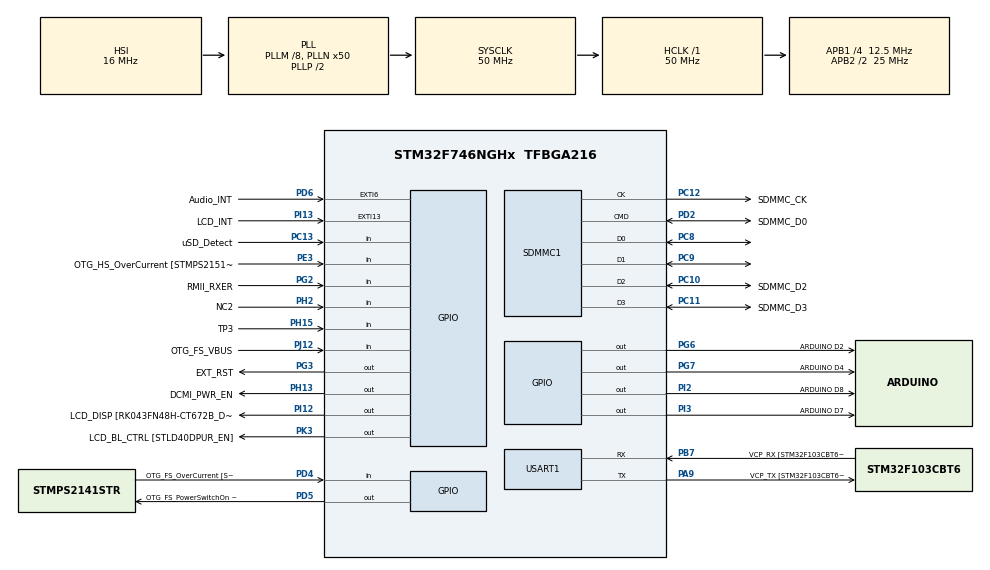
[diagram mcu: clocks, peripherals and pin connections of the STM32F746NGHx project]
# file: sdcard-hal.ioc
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PD12.GPIO_Label=QSPI_D1 [N25Q128A13EF840E_DQ1]
SH.FMC_A0.0=FMC_A0
PH15.GPIO_Label=TP3
PG8.Signal=FMC_SDCLK
PG0.Signal=FMC_A10
PI15.GPIO_Label=LCD_R0 [RK043FN48H-CT672B_R0]
PK1.Signal=LTDC_G6
SH.FMC_D5_DA5.0=FMC_D5
PF10.GPIO_PuPd=GPIO_NOPULL
SH.FMC_D9_DA9.0=FMC_D9
PG15.GPIO_Label=FMC_SDNCAS [MT48LC4M32B2B5-6A_CAS]
PF7.Signal=ADC3_IN5
SH.FMC_SDNWE.0=FMC_SDNWE
PH9.Signal=DCMI_D0
SH.FMC_D11_DA11.0=FMC_D11
RCC.APB2TimFreq_Value=50000000
PB6.Signal=QUADSPI_BK1_NCS
PC7.Signal=USART6_RX
PD0.Signal=FMC_D2_DA2
PD8.Signal=FMC_D13_DA13
PE1.Signal=FMC_NBL1
PF1.GPIO_Label=FMC_A1 [MT48LC4M32B2B5-6A_A1]
PI4.GPIO_Label=SAI2_MCLKA [WM8994ECS/R_MCLK1]
PK4.GPIO_Label=LCD_B5 [RK043FN48H-CT672B_B5]
PD1.GPIO_Label=FMC_D3 [MT48LC4M32B2B5-6A_DQ3]
PB12.GPIO_Label=ULPI_D5 [USB3320C-EZK_D5]
PF12.GPIO_Label=FMC_A6 [MT48LC4M32B2B5-6A_A6]
SH.S_TIM12_CH1.0=TIM12_CH1
PC4.GPIO_Label=RMII_RXD0 [LAN8742A-CZ-TR_RXD0]
PE9.Signal=FMC_D6_DA6
SH.FMC_A2.0=FMC_A2
PB1.GPIO_Label=ULPI_D2 [USB3320C-EZK_D2]
PE4.GPIO_Label=LCD_B0 [RK043FN48H-CT672B_B0]
PG4.GPIO_Label=FMC_BA0 [MT48LC4M32B2B5-6A_BA0]
PC9.Mode=SD_4_bits_Wide_bus
PA8.Signal=S_TIM1_CH1
SH.FMC_D1_DA1.0=FMC_D1
PJ14.Signal=LTDC_B2
PB9.Signal=I2C1_SDA
Mcu.Package=TFBGA216
PB1.Signal=USB_OTG_HS_ULPI_D2
PB14.GPIO_PuPd=GPIO_NOPULL
PD12.Signal=QUADSPI_BK1_IO1
PB9.GPIO_PuPd=GPIO_NOPULL
PA10.Signal=USB_OTG_FS_ID
PE12.GPIO_Label=FMC_D9 [MT48LC4M32B2B5-6A_DQ9]
PC11.Mode=SD_4_bits_Wide_bus
RCC.APB2CLKDivider=RCC_HCLK_DIV2
RCC.APB1TimFreq_Value=25000000
PC14/OSC32_IN.GPIO_Label=RCC_OSC32_IN
PF9.GPIO_PuPd=GPIO_NOPULL
PA4.GPIO_Label=DCMI_HSYNC
PA8.GPIO_Speed=GPIO_SPEED_FREQ_LOW
PD15.Signal=FMC_D1_DA1
PJ1.GPIO_Label=LCD_R2 [RK043FN48H-CT672B_R2]
PG12.Signal=LTDC_B4
SH.FMC_A4.0=FMC_A4
PK4.Signal=LTDC_B5
PH13.Signal=GPIO_Output
PI13.GPIO_ModeDefaultEXTI=GPIO_MODE_EVT_RISING
PG5.Signal=FMC_A15_BA1
PC13.Signal=GPIO_Input
SH.FMC_D10_DA10.0=FMC_D10
PD3.Signal=DCMI_D5
PC2.Signal=USB_OTG_HS_ULPI_DIR
PI12.Signal=GPIO_Output
PJ11.Signal=LTDC_G4
PF8.GPIO_Label=ARDUINO A3
PD10.Signal=FMC_D15_DA15
PB8.GPIO_Label=ARDUINO SCL/D15
PJ8.GPIO_Label=LCD_G1 [RK043FN48H-CT672B_G1]
PJ3.Signal=LTDC_R4
PI8.GPIO_Label=NC1 [TP2]
PA8.GPIO_Label=ARDUINO PWM/D10
PE8.GPIO_Label=FMC_D5 [MT48LC4M32B2B5-6A_DQ5]
PH11.GPIO_Label=DCMI_D2
PJ11.GPIO_Label=LCD_G4 [RK043FN48H-CT672B_G4]
PB14.Signal=SPI2_MISO
PA5.Signal=USB_OTG_HS_ULPI_CK
PC12.Mode=SD_4_bits_Wide_bus
PF10.GPIO_Mode=GPIO_MODE_ANALOG
PJ4.GPIO_Label=LCD_R5 [RK043FN48H-CT672B_R5]
PE1.GPIO_Label=FMC_NBL1 [MT48LC4M32B2B5-6A_DQM1]
PK7.GPIO_Label=LCD_DE [RK043FN48H-CT672B_DE]
PI7.Signal=SAI2_FS_A
SH.FMC_A6.0=FMC_A6
PE14.Signal=FMC_D11_DA11
PB4.GPIO_Label=ARDUINO PWM/D3
PB15.GPIO_Label=ARDUINO MOSI/PWM/D11
PG7.GPIO_Label=ARDUINO D4
PI2.Signal=GPIO_Output
PF4.GPIO_Label=FMC_A4 [MT48LC4M32B2B5-6A_A4]
PA1.GPIO_Label=RMII_REF_CLK [LAN8742A-CZ-TR_REFCLK0]
PF13.Signal=FMC_A7
PA0/WKUP.GPIO_PuPd=GPIO_NOPULL
PJ15.GPIO_Label=LCD_B3 [RK043FN48H-CT672B_B3]
PC7.GPIO_Label=ARDUINO RX/D0
PC8.Mode=SD_4_bits_Wide_bus
PA5.GPIO_Label=ULPI_CLK [USB3320C-EZK_CLKOUT]
PE5.GPIO_Label=DCMI_D6
PC12.GPIO_Label=SDMMC_CK
PJ8.Signal=LTDC_G1
PJ0.GPIO_Label=LCD_R1 [RK043FN48H-CT672B_R1]
ProjectManager.HeapSize=0x200
PH6.Signal=S_TIM12_CH1
NVIC.PriorityGroup=NVIC_PRIORITYGROUP_4
PF0.GPIO_Label=FMC_A0 [MT48LC4M32B2B5-6A_A0]
PI1.GPIO_Mode=GPIO_MODE_AF_PP
PE3.Signal=GPIO_Input
PC15/OSC32_OUT.Signal=RCC_OSC32_OUT
PF4.Signal=FMC_A4
PD2.Signal=SDMMC1_CMD
PI1.GPIO_Label=ARDUINO SCK/D13
Mcu.Family=STM32F7
PK3.Signal=GPIO_Output
SH.FMC_A8.0=FMC_A8
PC15/OSC32_OUT.GPIO_Label=RCC_OSC32_OUT
PH14.Signal=DCMI_D4
PH10.Signal=DCMI_D1
SH.FMC_D14_DA14.0=FMC_D14
PG2.Signal=GPIO_Input
PE11.GPIO_Label=FMC_D8 [MT48LC4M32B2B5-6A_DQ8]
PD0.GPIO_Label=FMC_D2 [MT48LC4M32B2B5-6A_DQ2]
SH.FMC_A14_BA0.0=FMC_BA0
SH.FMC_A11.0=FMC_A11
PB13.GPIO_Label=ULPI_D6 [USB3320C-EZK_D6]
PG5.GPIO_Label=FMC_BA1 [MT48LC4M32B2B5-6A_BA1]
PB15.Signal=SPI2_MOSI
PG15.Signal=FMC_SDNCAS
PG11.Signal=ETH_TX_EN
PJ5.GPIO_Label=LCD_R6 [RK043FN48H-CT672B_R6]
PJ14.GPIO_Label=LCD_B2 [RK043FN48H-CT672B_B2]
PD13.Signal=QUADSPI_BK1_IO3
PA15.GPIO_Label=ARDUINO PWM/D9
PJ2.Signal=LTDC_R3
SH.FMC_NBL1.0=FMC_NBL1
PA15.GPIO_ModeDefaultPP=GPIO_MODE_AF_PP
PA9.GPIO_Mode=GPIO_MODE_AF_PP
RCC.HSE_VALUE=25000000
PF7.GPIO_Mode=GPIO_MODE_ANALOG
PF8.GPIO_PuPd=GPIO_NOPULL
PH7.GPIO_Label=LCD_SCL [RK043FN48H-CT672B_SCL]
PJ7.GPIO_Label=LCD_G0 [RK043FN48H-CT672B_G0]
PF11.Signal=FMC_SDNRAS
PC11.GPIO_Label=SDMMC_D3
PJ12.GPIO_Label=OTG_FS_VBUS
PB7.Signal=USART1_RX
SH.S_TIM3_CH1.0=TIM3_CH1
PB7.GPIO_Label=VCP_RX [STM32F103CBT6_PA2]
PD13.GPIO_Label=QSPI_D3 [N25Q128A13EF840E_DQ3]
PA6.Signal=DCMI_PIXCLK
PB15.GPIO_PuPd=GPIO_NOPULL
PD5.GPIO_Label=OTG_FS_PowerSwitchOn [STMPS2141STR_EN]
PA15.Signal=S_TIM2_CH1_ETR
PF8.Signal=ADC3_IN6
PG0.GPIO_Label=FMC_A10 [MT48LC4M32B2B5-6A_A10]
PI0.GPIO_Label=ARDUINO PWM/CS/D5
PA0/WKUP.GPIO_Mode=GPIO_MODE_ANALOG
PB5.GPIO_Label=ULPI_D7 [USB3320C-EZK_D7]
PG11.GPIO_Label=RMII_TX_EN [LAN8742A-CZ-TR_TXEN]
PD3.GPIO_Label=DCMI_D5
PC5.Signal=ETH_RXD1
PE7.Signal=FMC_D4_DA4
PD6.Signal=GPXTI6
PF3.GPIO_Label=FMC_A3 [MT48LC4M32B2B5-6A_A3]
PE2.GPIO_Label=QSPI_D2 [N25Q128A13EF840E_DQ2]
PB4.Signal=S_TIM3_CH1
PG2.GPIO_Label=RMII_RXER
PA3.Signal=USB_OTG_HS_ULPI_D0
PK6.Signal=LTDC_B7
PD15.GPIO_Label=FMC_D1 [MT48LC4M32B2B5-6A_DQ1]
PG7.Signal=GPIO_Output
PH12.GPIO_Label=DCMI_D3
PC11.Signal=SDMMC1_D3
PI14.Signal=LTDC_CLK
PC8.Signal=SDMMC1_D0
PC10.Mode=SD_4_bits_Wide_bus
PE14.GPIO_Label=FMC_D11 [MT48LC4M32B2B5-6A_DQ11]
PD9.Signal=FMC_D14_DA14
PA9.GPIO_PuPd=GPIO_NOPULL
PA12.GPIO_Label=OTG_FS_P
PD8.GPIO_Label=FMC_D13 [MT48LC4M32B2B5-6A_DQ13]
PG8.GPIO_Label=FMC_SDCLK [MT48LC4M32B2B5-6A_CLK]
USART1.VirtualMode-Asynchronous=VM_ASYNC
PA13.Signal=SYS_JTMS-SWDIO
PA9.Mode=Asynchronous
SH.S_TIM1_CH1.0=TIM1_CH1
PF6.Signal=ADC3_IN4
PB10.GPIO_Label=ULPI_D3 [USB3320C-EZK_D3]
SH.FMC_D13_DA13.0=FMC_D13
PH8.Signal=I2C3_SDA
RCC.USBFreq_Value=50000000
PF9.GPIO_Label=ARDUINO A2
PD10.GPIO_Label=FMC_D15 [MT48LC4M32B2B5-6A_DQ15]
PA1.Signal=ETH_REF_CLK
PD2.Mode=SD_4_bits_Wide_bus
board=STM32F746G-DISCO
RCC.VCOOutputFreq_Value=100000000
PI9.Signal=LTDC_VSYNC
PH4.GPIO_Label=ULPI_NXT [USB3320C-EZK_NXT]
PI13.GPIO_Label=LCD_INT
PI4.Signal=SAI2_MCLK_A
PC1.GPIO_Label=RMII_MDC [LAN8742A-CZ-TR_MDC]
SH.FMC_D12_DA12.0=FMC_D12
PF15.GPIO_Label=FMC_A9 [MT48LC4M32B2B5-6A_A9]
PI1.GPIO_Speed=GPIO_SPEED_FREQ_LOW
PF1.Signal=FMC_A1
PF8.GPIO_Mode=GPIO_MODE_ANALOG
PJ0.Signal=LTDC_R1
PE0.Signal=FMC_NBL0
PE7.GPIO_Label=FMC_D4 [MT48LC4M32B2B5-6A_DQ4]
PE12.Signal=FMC_D9_DA9
RCC.SYSCLKFreq_VALUE=50000000
PJ5.Signal=LTDC_R6
PA15.GPIO_Speed=GPIO_SPEED_FREQ_LOW
RCC.HSI_VALUE=16000000
PA8.GPIO_PuPd=GPIO_NOPULL
PH0/OSC_IN.GPIO_Label=OSC_25M [NZ2520SB-25.00M_OUT]
PF9.GPIO_Mode=GPIO_MODE_ANALOG
PI3.GPIO_Label=ARDUINO D7
PH3.Signal=FMC_SDNE0
RCC.PLLM=8
RCC.PLLN=50
PA9.GPIO_Speed=GPIO_SPEED_FREQ_LOW
PB8.GPIO_Speed=GPIO_SPEED_FREQ_LOW
PJ2.GPIO_Label=LCD_R3 [RK043FN48H-CT672B_R3]
PB14.GPIO_Mode=GPIO_MODE_AF_PP
PB12.Signal=USB_OTG_HS_ULPI_D5
PJ13.Signal=LTDC_B1
PK1.GPIO_Label=LCD_G6 [RK043FN48H-CT672B_G6]
PA3.GPIO_Label=ULPI_D0 [USB3320C-EZK_D0]
SH.FMC_D7_DA7.0=FMC_D7
PK5.Signal=LTDC_B6
PB15.GPIO_Mode=GPIO_MODE_AF_PP
PH12.Signal=DCMI_D3
PG4.Signal=FMC_A14_BA0
PC12.Signal=SDMMC1_CK
PB14.GPIO_Label=ARDUINO MISO/D12
PA14.GPIO_Label=SWCLK
PG6.GPIO_Label=ARDUINO D2
PH6.GPIO_Label=ARDUINO PWM/D6
PK6.GPIO_Label=LCD_B7 [RK043FN48H-CT672B_B7]
PC6.GPIO_Label=ARDUINO TX/D1
PB6.GPIO_Label=QSPI_NCS [N25Q128A13EF840E_S]
PI6.GPIO_Label=SAI2_SDA [WM8994ECS/R_DACDAT1]
PJ6.GPIO_Label=LCD_R7 [RK043FN48H-CT672B_R7]
PB13.Signal=USB_OTG_HS_ULPI_D6
PD6.GPIO_Label=Audio_INT
PG13.Signal=ETH_TXD0
PE6.GPIO_Label=DCMI_D7
PF6.GPIO_Label=ARDUINO A5
RCC.SYSCLKSource=RCC_SYSCLKSOURCE_PLLCLK
PJ10.Signal=LTDC_G3
SH.FMC_A15_BA1.0=FMC_BA1
PB7.GPIO_Mode=GPIO_MODE_AF_PP
PJ13.GPIO_Label=LCD_B1 [RK043FN48H-CT672B_B1]
PI0.GPIO_PuPd=GPIO_NOPULL
PH5.Signal=FMC_SDNWE
PD4.Signal=GPIO_Input
PH1/OSC_OUT.Signal=RCC_OSC_OUT
PC3.Signal=FMC_SDCKE0
PE5.Signal=DCMI_D6
PF10.GPIO_Label=ARDUINO A1
PH10.GPIO_Label=DCMI_D1
PB2.Signal=QUADSPI_CLK
PI6.Signal=SAI2_SD_A
PI3.Signal=GPIO_Output
PE2.Signal=QUADSPI_BK1_IO2
PF3.Signal=FMC_A3
PE10.Signal=FMC_D7_DA7
PD6.GPIO_ModeDefaultEXTI=GPIO_MODE_EVT_RISING
PJ4.Signal=LTDC_R5
SH.FMC_A1.0=FMC_A1
PH2.Signal=GPIO_Input
SH.FMC_SDCLK.0=FMC_SDCLK
PF14.Signal=FMC_A8
PF6.GPIO_Mode=GPIO_MODE_ANALOG
PE10.GPIO_Label=FMC_D7 [MT48LC4M32B2B5-6A_DQ7]
SH.FMC_D3_DA3.0=FMC_D3
PI10.GPIO_Label=LCD_HSYNC [RK043FN48H-CT672B_HSYNC]
PB7.GPIO_PuPd=GPIO_NOPULL
PH15.Signal=GPIO_Input
PD9.GPIO_Label=FMC_D14 [MT48LC4M32B2B5-6A_DQ14]
PG9.Signal=DCMI_VSYNC
PA9.GPIO_Label=VCP_TX [STM32F103CBT6_PA3]
PB8.GPIO_PuPd=GPIO_NOPULL
PC6.Signal=USART6_TX
PB11.GPIO_Label=ULPI_D4 [USB3320C-EZK_D4]
PD7.Signal=SPDIFRX_IN0
PD1.Signal=FMC_D3_DA3
PA11.GPIO_Label=OTG_FS_N
PF14.GPIO_Label=FMC_A8 [MT48LC4M32B2B5-6A_A8]
PC0.Signal=USB_OTG_HS_ULPI_STP
RCC.APB1CLKDivider=RCC_HCLK_DIV4
PF13.GPIO_Label=FMC_A7 [MT48LC4M32B2B5-6A_A7]
PG13.GPIO_Label=RMII_TXD0 [LAN8742A-CZ-TR_TXD0]
PG10.Signal=SAI2_SD_B
SH.FMC_A3.0=FMC_A3
PJ7.Signal=LTDC_G0
PI0.GPIO_Speed=GPIO_SPEED_FREQ_LOW
PB14.GPIO_Speed=GPIO_SPEED_FREQ_LOW
SH.FMC_D15_DA15.0=FMC_D15
PA9.Signal=USART1_TX
PB4.GPIO_PuPd=GPIO_NOPULL
PE9.GPIO_Label=FMC_D6 [MT48LC4M32B2B5-6A_DQ6]
PB10.Signal=USB_OTG_HS_ULPI_D3
PJ15.Signal=LTDC_B3
PH9.GPIO_Label=DCMI_D0
PI9.GPIO_Label=LCD_VSYNC [RK043FN48H-CT672B_VSYNC]
PA8.GPIO_ModeDefaultPP=GPIO_MODE_AF_PP
PE15.Signal=FMC_D12_DA12
PE8.Signal=FMC_D5_DA5
PI1.Signal=SPI2_SCK
PA0/WKUP.GPIO_Label=ARDUINO A0
PG14.GPIO_Label=RMII_TXD1 [LAN8742A-CZ-TR_TXD1]
SH.FMC_SDNCAS.0=FMC_SDNCAS
PF7.GPIO_PuPd=GPIO_NOPULL
PH14.GPIO_Label=DCMI_D4
PA4.Signal=DCMI_HSYNC
PB5.Signal=USB_OTG_HS_ULPI_D7
PE13.GPIO_Label=FMC_D10 [MT48LC4M32B2B5-6A_DQ10]
PD11.Signal=QUADSPI_BK1_IO0
SH.FMC_A5.0=FMC_A5
PA11.Signal=USB_OTG_FS_DM
SH.S_TIM2_CH1_ETR.0=TIM2_CH1
PK3.GPIO_Label=LCD_BL_CTRL [STLD40DPUR_EN]
PF9.Signal=ADC3_IN7
PF6.GPIO_PuPd=GPIO_NOPULL
PC3.GPIO_Label=FMC_SDCKE0 [MT48LC4M32B2B5-6A_CKE]
PG3.GPIO_Label=EXT_RST
PB0.Signal=USB_OTG_HS_ULPI_D1
PC1.Signal=ETH_MDC
PG10.GPIO_Label=SAI2_SDB [WM8994ECS/R_ADCDAT1]
PD2.GPIO_Label=SDMMC_D0
PH2.GPIO_Label=NC2
PK7.Signal=LTDC_DE
RCC.CortexFreq_Value=50000000
PG6.Signal=GPIO_Output
PC10.Signal=SDMMC1_D2
SH.FMC_NBL0.0=FMC_NBL0
PC0.GPIO_Label=ULPI_STP [USB3320C-EZK_STP]
SH.FMC_D6_DA6.0=FMC_D6
SDMMC1.ClockDiv=123
PA0/WKUP.Signal=ADCx_IN0
PB0.GPIO_Label=ULPI_D1 [USB3320C-EZK_D1]
PH5.GPIO_Label=FMC_SDNME [MT48LC4M32B2B5-6A_WE]
PI5.GPIO_Label=SAI2_SCKA [WM8994ECS/R_BCLK1]
PC13.GPIO_Label=uSD_Detect
PK5.GPIO_Label=LCD_B6 [RK043FN48H-CT672B_B6]
PB11.Signal=USB_OTG_HS_ULPI_D4
PI14.GPIO_Label=LCD_CLK [RK043FN48H-CT672B_CLK]
ProjectManager.StackSize=0x400
PJ6.Signal=LTDC_R7
SH.FMC_A7.0=FMC_A7
PA12.Signal=USB_OTG_FS_DP
PD11.GPIO_Label=QSPI_D0 [N25Q128A13EF840E_DQ0]
RCC.HCLKFreq_Value=50000000
PF11.GPIO_Label=FMC_SDNRAS [MT48LC4M32B2B5-6A_RAS]
PF12.Signal=FMC_A6
PI13.Signal=GPXTI13
SH.FMC_A10.0=FMC_A10
RCC.AHBFreq_Value=50000000
SH.FMC_D8_DA8.0=FMC_D8
PI8.Signal=RTC_TS
SH.FMC_D2_DA2.0=FMC_D2
PE13.Signal=FMC_D10_DA10
PF7.GPIO_Label=ARDUINO A4
PI1.GPIO_PuPd=GPIO_NOPULL
PI5.Signal=SAI2_SCK_A
PI0.Signal=S_TIM5_CH4
PA10.GPIO_Label=OTG_FS_ID
SH.ADCx_IN0.0=ADC3_IN0
SH.FMC_SDNRAS.0=FMC_SDNRAS
PE4.Signal=LTDC_B0
PD7.GPIO_Label=SPDIF_RX0 [74LVC1G04SE_4]
PJ9.Signal=LTDC_G2
SH.FMC_D0_DA0.0=FMC_D0
PJ12.Signal=GPIO_Input
PC14/OSC32_IN.Signal=RCC_OSC32_IN
PK0.GPIO_Label=LCD_G5 [RK043FN48H-CT672B_G5]
PA2.GPIO_Label=RMII_MDIO [LAN8742A-CZ-TR_MDIO]
PF5.GPIO_Label=FMC_A5 [MT48LC4M32B2B5-6A_A5]
SH.FMC_A9.0=FMC_A9
PJ1.Signal=LTDC_R2
SH.FMC_D4_DA4.0=FMC_D4
PI12.GPIO_Label=LCD_DISP [RK043FN48H-CT672B_DISP] 
PE0.GPIO_Label=FMC_NBL0 [MT48LC4M32B2B5-6A_DQM0]
PH3.GPIO_Label=FMC_SDNE0 [MT48LC4M32B2B5-6A_CS]
PF5.Signal=FMC_A5
PH7.Signal=I2C3_SCL
PB9.GPIO_Speed=GPIO_SPEED_FREQ_LOW
PJ3.GPIO_Label=LCD_R4 [RK043FN48H-CT672B_R4]
PK2.GPIO_Label=LCD_G7 [RK043FN48H-CT672B_G7]
PF0.Signal=FMC_A0
PI2.GPIO_Label=ARDUINO D8
PC2.GPIO_Label=ULPI_DIR [USB3320C-EZK_DIR]
PB7.GPIO_Speed=GPIO_SPEED_FREQ_LOW
PB3.GPIO_Label=SWO
RCC.PLLSourceVirtual=RCC_PLLSOURCE_HSI
PK2.Signal=LTDC_G7
PB9.GPIO_Label=ARDUINO SDA/D14
PC10.GPIO_Label=SDMMC_D2
PH11.Signal=DCMI_D2
PG3.Signal=GPIO_Output
PG1.Signal=FMC_A11
PC4.Signal=ETH_RXD0
PI0.GPIO_ModeDefaultPP=GPIO_MODE_AF_PP
PI10.Signal=LTDC_HSYNC
PD5.Signal=GPIO_Output
PH13.GPIO_Label=DCMI_PWR_EN
PH8.GPIO_Label=LCD_SDA [RK043FN48H-CT672B_SDA]
PE15.GPIO_Label=FMC_D12 [MT48LC4M32B2B5-6A_DQ12]
PH4.Signal=USB_OTG_HS_ULPI_NXT
ProjectManager.TargetToolchain=STM32CubeIDE
PJ9.GPIO_Label=LCD_G2 [RK043FN48H-CT672B_G2]
PF2.Signal=FMC_A2
PE11.Signal=FMC_D8_DA8
RCC.LSE_VALUE=32768
PK0.Signal=LTDC_G5
PG9.GPIO_Label=DCMI_VSYNC
PG14.Signal=ETH_TXD1
PB4.GPIO_ModeDefaultPP=GPIO_MODE_AF_PP
PJ10.GPIO_Label=LCD_G3 [RK043FN48H-CT672B_G3]
PG1.GPIO_Label=FMC_A11 [MT48LC4M32B2B5-6A_A11]
PB9.GPIO_Mode=GPIO_MODE_AF_OD
PH0/OSC_IN.Signal=RCC_OSC_IN
PB4.GPIO_Speed=GPIO_SPEED_FREQ_LOW
RCC.APB2Freq_Value=25000000
PD4.GPIO_Label=OTG_FS_OverCurrent [STMPS2141STR_Fault]
PF10.Signal=ADC3_IN8
PB15.GPIO_Speed=GPIO_SPEED_FREQ_LOW
PI7.GPIO_Label=SAI2_FSA [WM8994ECS/R_LRCLK1]
SH.S_TIM5_CH4.0=TIM5_CH4
PF15.Signal=FMC_A9
PD14.GPIO_Label=FMC_D0 [MT48LC4M32B2B5-6A_DQ0]
PD5.PinState=GPIO_PIN_SET
PE6.Signal=DCMI_D7
Mcu.Name=STM32F746NGHx
PA13.GPIO_Label=SWDIO
PA2.Signal=ETH_MDIO
PD14.Signal=FMC_D0_DA0
PB3.Signal=SYS_JTDO-SWO
PA7.GPIO_Label=RMII_CRS_DV [LAN8742A-CZ-TR_CRS_DV]
PC5.GPIO_Label=RMII_RXD1 [LAN8742A-CZ-TR_RXD1]
PB7.Mode=Asynchronous
PA14.Signal=SYS_JTCK-SWCLK
PG12.GPIO_Label=LCD_B4 [RK043FN48H-CT672B_B4]
PA15.GPIO_PuPd=GPIO_NOPULL
PI15.Signal=LTDC_R0
PB8.Signal=I2C1_SCL
PE3.GPIO_Label=OTG_HS_OverCurrent [STMPS2151STR_FAULT]
PC9.Signal=SDMMC1_D1
PB8.GPIO_Mode=GPIO_MODE_AF_OD
RCC.APB1Freq_Value=12500000
PA7.Signal=ETH_CRS_DV
PF2.GPIO_Label=FMC_A2 [MT48LC4M32B2B5-6A_A2]

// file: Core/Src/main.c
/* USER CODE BEGIN Header */
/**
  ******************************************************************************
  * @file           : main.c
  * @brief          : Main program body
  ******************************************************************************
  * @attention
  *
  * <h2><center>&copy; Copyright (c) 2021 STMicroelectronics.
  * All rights reserved.</center></h2>
  *
  * This software component is licensed by ST under BSD 3-Clause license,
  * the "License"; You may not use this file except in compliance with the
  * License. You may obtain a copy of the License at:
  *                        opensource.org/licenses/BSD-3-Clause
  *
  ******************************************************************************
  */
/* USER CODE END Header */
#include "main.h"

/* USER CODE BEGIN Includes */
#include <stdio.h>
#include <string.h>
/* USER CODE END Includes */

SD_HandleTypeDef hsd1;

UART_HandleTypeDef huart1;

void SystemClock_Config(void);
static void MX_GPIO_Init(void);
static void MX_SDMMC1_SD_Init(void);
static void MX_USART1_UART_Init(void);

/* USER CODE BEGIN 0 */
int _write(int file, char *ptr, int len)
{
	HAL_UART_Transmit(&huart1,(uint8_t *)ptr,len,10);
	return len;
}
/* USER CODE END 0 */

int main(void)
{
  /* USER CODE BEGIN 1 */
  uint8_t tx_buff[512] = "Hello World! this is SD-Card speaking!!";
  uint8_t rx_buff[512];
  uint8_t read_back[40];
  HAL_StatusTypeDef status;
  /* USER CODE END 1 */

  /* MCU Configuration--------------------------------------------------------*/

  /* Reset of all peripherals, Initializes the Flash interface and the Systick. */
  HAL_Init();

  /* Configure the system clock */
  SystemClock_Config();

  /* Initialize all configured peripherals */
  MX_GPIO_Init();
  MX_SDMMC1_SD_Init();
  MX_USART1_UART_Init();
  /* USER CODE BEGIN 2 */
  status = HAL_SD_WriteBlocks(&hsd1, (uint8_t *)tx_buff, 0, 1, 2000);

  if (status != HAL_OK)
  {
	  printf("Write failed with error code: %d\r\n", status);
  }
  else
  {
	  printf("Write success\r\n");
  }

  HAL_Delay(1000);

  status = HAL_SD_ReadBlocks(&hsd1, (uint8_t *)rx_buff, 0, 1, 2000);

  if (status != HAL_OK)
  {
	  printf("Read failed with error code: %d\r\n", status);
  }
  else
  {
	  printf("Read success\r\n");
  }

  memcpy(read_back, rx_buff, sizeof(read_back));
  printf("Read data: %s\r\n", read_back);
  /* USER CODE END 2 */

  /* Infinite loop */
  while (1)
  {

  }
}

void SystemClock_Config(void)
{
  RCC_OscInitTypeDef RCC_OscInitStruct = {0};
  RCC_ClkInitTypeDef RCC_ClkInitStruct = {0};
  RCC_PeriphCLKInitTypeDef PeriphClkInitStruct = {0};

  /** Configure the main internal regulator output voltage
  */
  __HAL_RCC_PWR_CLK_ENABLE();
  __HAL_PWR_VOLTAGESCALING_CONFIG(PWR_REGULATOR_VOLTAGE_SCALE3);
  /** Initializes the RCC Oscillators according to the specified parameters
  * in the RCC_OscInitTypeDef structure.
  */
  RCC_OscInitStruct.OscillatorType = RCC_OSCILLATORTYPE_HSI;
  RCC_OscInitStruct.HSIState = RCC_HSI_ON;
  RCC_OscInitStruct.HSICalibrationValue = RCC_HSICALIBRATION_DEFAULT;
  RCC_OscInitStruct.PLL.PLLState = RCC_PLL_ON;
  RCC_OscInitStruct.PLL.PLLSource = RCC_PLLSOURCE_HSI;
  RCC_OscInitStruct.PLL.PLLM = 8;
  RCC_OscInitStruct.PLL.PLLN = 50;
  RCC_OscInitStruct.PLL.PLLP = RCC_PLLP_DIV2;
  RCC_OscInitStruct.PLL.PLLQ = 2;
  if (HAL_RCC_OscConfig(&RCC_OscInitStruct) != HAL_OK)
  {
    Error_Handler();
  }
  /** Initializes the CPU, AHB and APB buses clocks
  */
  RCC_ClkInitStruct.ClockType = RCC_CLOCKTYPE_HCLK|RCC_CLOCKTYPE_SYSCLK
                              |RCC_CLOCKTYPE_PCLK1|RCC_CLOCKTYPE_PCLK2;
  RCC_ClkInitStruct.SYSCLKSource = RCC_SYSCLKSOURCE_PLLCLK;
  RCC_ClkInitStruct.AHBCLKDivider = RCC_SYSCLK_DIV1;
  RCC_ClkInitStruct.APB1CLKDivider = RCC_HCLK_DIV4;
  RCC_ClkInitStruct.APB2CLKDivider = RCC_HCLK_DIV2;

  if (HAL_RCC_ClockConfig(&RCC_ClkInitStruct, FLASH_LATENCY_1) != HAL_OK)
  {
    Error_Handler();
  }
  PeriphClkInitStruct.PeriphClockSelection = RCC_PERIPHCLK_USART1|RCC_PERIPHCLK_SDMMC1;
  PeriphClkInitStruct.Usart1ClockSelection = RCC_USART1CLKSOURCE_PCLK2;
  PeriphClkInitStruct.Sdmmc1ClockSelection = RCC_SDMMC1CLKSOURCE_SYSCLK;
  if (HAL_RCCEx_PeriphCLKConfig(&PeriphClkInitStruct) != HAL_OK)
  {
    Error_Handler();
  }
}

static void MX_SDMMC1_SD_Init(void)
{

  hsd1.Instance = SDMMC1;
  hsd1.Init.ClockEdge = SDMMC_CLOCK_EDGE_RISING;
  hsd1.Init.ClockBypass = SDMMC_CLOCK_BYPASS_DISABLE;
  hsd1.Init.ClockPowerSave = SDMMC_CLOCK_POWER_SAVE_DISABLE;
  hsd1.Init.BusWide = SDMMC_BUS_WIDE_1B;
  hsd1.Init.HardwareFlowControl = SDMMC_HARDWARE_FLOW_CONTROL_DISABLE;
  hsd1.Init.ClockDiv = 123;
  if (HAL_SD_Init(&hsd1) != HAL_OK)
  {
    Error_Handler();
  }
  if (HAL_SD_ConfigWideBusOperation(&hsd1, SDMMC_BUS_WIDE_4B) != HAL_OK)
  {
    Error_Handler();
  }

}

static void MX_USART1_UART_Init(void)
{

  huart1.Instance = USART1;
  huart1.Init.BaudRate = 115200;
  huart1.Init.WordLength = UART_WORDLENGTH_8B;
  huart1.Init.StopBits = UART_STOPBITS_1;
  huart1.Init.Parity = UART_PARITY_NONE;
  huart1.Init.Mode = UART_MODE_TX_RX;
  huart1.Init.HwFlowCtl = UART_HWCONTROL_NONE;
  huart1.Init.OverSampling = UART_OVERSAMPLING_16;
  huart1.Init.OneBitSampling = UART_ONE_BIT_SAMPLE_DISABLE;
  huart1.AdvancedInit.AdvFeatureInit = UART_ADVFEATURE_NO_INIT;
  if (HAL_UART_Init(&huart1) != HAL_OK)
  {
    Error_Handler();
  }

}

static void MX_GPIO_Init(void)
{
  GPIO_InitTypeDef GPIO_InitStruct = {0};

  /* GPIO Ports Clock Enable */
  __HAL_RCC_GPIOE_CLK_ENABLE();
  __HAL_RCC_GPIOG_CLK_ENABLE();
  __HAL_RCC_GPIOB_CLK_ENABLE();
  __HAL_RCC_GPIOD_CLK_ENABLE();
  __HAL_RCC_GPIOC_CLK_ENABLE();
  __HAL_RCC_GPIOA_CLK_ENABLE();
  __HAL_RCC_GPIOJ_CLK_ENABLE();
  __HAL_RCC_GPIOI_CLK_ENABLE();
  __HAL_RCC_GPIOK_CLK_ENABLE();
  __HAL_RCC_GPIOF_CLK_ENABLE();
  __HAL_RCC_GPIOH_CLK_ENABLE();

  /*Configure GPIO pin Output Level */
  HAL_GPIO_WritePin(OTG_FS_PowerSwitchOn_GPIO_Port, OTG_FS_PowerSwitchOn_Pin, GPIO_PIN_SET);

  /*Configure GPIO pin Output Level */
  HAL_GPIO_WritePin(GPIOI, ARDUINO_D7_Pin|ARDUINO_D8_Pin|LCD_DISP_Pin, GPIO_PIN_RESET);

  /*Configure GPIO pin Output Level */
  HAL_GPIO_WritePin(LCD_BL_CTRL_GPIO_Port, LCD_BL_CTRL_Pin, GPIO_PIN_RESET);

  /*Configure GPIO pin Output Level */
  HAL_GPIO_WritePin(DCMI_PWR_EN_GPIO_Port, DCMI_PWR_EN_Pin, GPIO_PIN_RESET);

  /*Configure GPIO pin Output Level */
  HAL_GPIO_WritePin(GPIOG, ARDUINO_D4_Pin|ARDUINO_D2_Pin|EXT_RST_Pin, GPIO_PIN_RESET);

  /*Configure GPIO pin : LCD_B0_Pin */
  GPIO_InitStruct.Pin = LCD_B0_Pin;
  GPIO_InitStruct.Mode = GPIO_MODE_AF_PP;
  GPIO_InitStruct.Pull = GPIO_NOPULL;
  GPIO_InitStruct.Speed = GPIO_SPEED_FREQ_LOW;
  GPIO_InitStruct.Alternate = GPIO_AF14_LTDC;
  HAL_GPIO_Init(LCD_B0_GPIO_Port, &GPIO_InitStruct);

  /*Configure GPIO pin : OTG_HS_OverCurrent_Pin */
  GPIO_InitStruct.Pin = OTG_HS_OverCurrent_Pin;
  GPIO_InitStruct.Mode = GPIO_MODE_INPUT;
  GPIO_InitStruct.Pull = GPIO_NOPULL;
  HAL_GPIO_Init(OTG_HS_OverCurrent_GPIO_Port, &GPIO_InitStruct);

  /*Configure GPIO pin : QSPI_D2_Pin */
  GPIO_InitStruct.Pin = QSPI_D2_Pin;
  GPIO_InitStruct.Mode = GPIO_MODE_AF_PP;
  GPIO_InitStruct.Pull = GPIO_NOPULL;
  GPIO_InitStruct.Speed = GPIO_SPEED_FREQ_VERY_HIGH;
  GPIO_InitStruct.Alternate = GPIO_AF9_QUADSPI;
  HAL_GPIO_Init(QSPI_D2_GPIO_Port, &GPIO_InitStruct);

  /*Configure GPIO pins : RMII_TXD1_Pin RMII_TXD0_Pin RMII_TX_EN_Pin */
  GPIO_InitStruct.Pin = RMII_TXD1_Pin|RMII_TXD0_Pin|RMII_TX_EN_Pin;
  GPIO_InitStruct.Mode = GPIO_MODE_AF_PP;
  GPIO_InitStruct.Pull = GPIO_NOPULL;
  GPIO_InitStruct.Speed = GPIO_SPEED_FREQ_VERY_HIGH;
  GPIO_InitStruct.Alternate = GPIO_AF11_ETH;
  HAL_GPIO_Init(GPIOG, &GPIO_InitStruct);

  /*Configure GPIO pins : FMC_NBL1_Pin FMC_NBL0_Pin FMC_D5_Pin FMC_D6_Pin
                           FMC_D8_Pin FMC_D11_Pin FMC_D4_Pin FMC_D7_Pin
                           FMC_D9_Pin FMC_D12_Pin FMC_D10_Pin */
  GPIO_InitStruct.Pin = FMC_NBL1_Pin|FMC_NBL0_Pin|FMC_D5_Pin|FMC_D6_Pin
                          |FMC_D8_Pin|FMC_D11_Pin|FMC_D4_Pin|FMC_D7_Pin
                          |FMC_D9_Pin|FMC_D12_Pin|FMC_D10_Pin;
  GPIO_InitStruct.Mode = GPIO_MODE_AF_PP;
  GPIO_InitStruct.Pull = GPIO_NOPULL;
  GPIO_InitStruct.Speed = GPIO_SPEED_FREQ_VERY_HIGH;
  GPIO_InitStruct.Alternate = GPIO_AF12_FMC;
  HAL_GPIO_Init(GPIOE, &GPIO_InitStruct);

  /*Configure GPIO pins : ARDUINO_SCL_D15_Pin ARDUINO_SDA_D14_Pin */
  GPIO_InitStruct.Pin = ARDUINO_SCL_D15_Pin|ARDUINO_SDA_D14_Pin;
  GPIO_InitStruct.Mode = GPIO_MODE_AF_OD;
  GPIO_InitStruct.Pull = GPIO_PULLUP;
  GPIO_InitStruct.Speed = GPIO_SPEED_FREQ_LOW;
  GPIO_InitStruct.Alternate = GPIO_AF4_I2C1;
  HAL_GPIO_Init(GPIOB, &GPIO_InitStruct);

  /*Configure GPIO pins : ULPI_D7_Pin ULPI_D6_Pin ULPI_D5_Pin ULPI_D3_Pin
                           ULPI_D2_Pin ULPI_D1_Pin ULPI_D4_Pin */
  GPIO_InitStruct.Pin = ULPI_D7_Pin|ULPI_D6_Pin|ULPI_D5_Pin|ULPI_D3_Pin
                          |ULPI_D2_Pin|ULPI_D1_Pin|ULPI_D4_Pin;
  GPIO_InitStruct.Mode = GPIO_MODE_AF_PP;
  GPIO_InitStruct.Pull = GPIO_NOPULL;
  GPIO_InitStruct.Speed = GPIO_SPEED_FREQ_VERY_HIGH;
  GPIO_InitStruct.Alternate = GPIO_AF10_OTG_HS;
  HAL_GPIO_Init(GPIOB, &GPIO_InitStruct);

  /*Configure GPIO pin : ARDUINO_PWM_D3_Pin */
  GPIO_InitStruct.Pin = ARDUINO_PWM_D3_Pin;
  GPIO_InitStruct.Mode = GPIO_MODE_AF_PP;
  GPIO_InitStruct.Pull = GPIO_NOPULL;
  GPIO_InitStruct.Speed = GPIO_SPEED_FREQ_LOW;
  GPIO_InitStruct.Alternate = GPIO_AF2_TIM3;
  HAL_GPIO_Init(ARDUINO_PWM_D3_GPIO_Port, &GPIO_InitStruct);

  /*Configure GPIO pin : SPDIF_RX0_Pin */
  GPIO_InitStruct.Pin = SPDIF_RX0_Pin;
  GPIO_InitStruct.Mode = GPIO_MODE_AF_PP;
  GPIO_InitStruct.Pull = GPIO_NOPULL;
  GPIO_InitStruct.Speed = GPIO_SPEED_FREQ_LOW;
  GPIO_InitStruct.Alternate = GPIO_AF8_SPDIFRX;
  HAL_GPIO_Init(SPDIF_RX0_GPIO_Port, &GPIO_InitStruct);

  /*Configure GPIO pin : ARDUINO_PWM_D9_Pin */
  GPIO_InitStruct.Pin = ARDUINO_PWM_D9_Pin;
  GPIO_InitStruct.Mode = GPIO_MODE_AF_PP;
  GPIO_InitStruct.Pull = GPIO_NOPULL;
  GPIO_InitStruct.Speed = GPIO_SPEED_FREQ_LOW;
  GPIO_InitStruct.Alternate = GPIO_AF1_TIM2;
  HAL_GPIO_Init(ARDUINO_PWM_D9_GPIO_Port, &GPIO_InitStruct);

  /*Configure GPIO pins : DCMI_D6_Pin DCMI_D7_Pin */
  GPIO_InitStruct.Pin = DCMI_D6_Pin|DCMI_D7_Pin;
  GPIO_InitStruct.Mode = GPIO_MODE_AF_PP;
  GPIO_InitStruct.Pull = GPIO_NOPULL;
  GPIO_InitStruct.Speed = GPIO_SPEED_FREQ_LOW;
  GPIO_InitStruct.Alternate = GPIO_AF13_DCMI;
  HAL_GPIO_Init(GPIOE, &GPIO_InitStruct);

  /*Configure GPIO pin : QSPI_NCS_Pin */
  GPIO_InitStruct.Pin = QSPI_NCS_Pin;
  GPIO_InitStruct.Mode = GPIO_MODE_AF_PP;
  GPIO_InitStruct.Pull = GPIO_NOPULL;
  GPIO_InitStruct.Speed = GPIO_SPEED_FREQ_VERY_HIGH;
  GPIO_InitStruct.Alternate = GPIO_AF10_QUADSPI;
  HAL_GPIO_Init(QSPI_NCS_GPIO_Port, &GPIO_InitStruct);

  /*Configure GPIO pins : FMC_SDNCAS_Pin FMC_SDCLK_Pin FMC_A11_Pin FMC_A10_Pin
                           FMC_BA1_Pin FMC_BA0_Pin */
  GPIO_InitStruct.Pin = FMC_SDNCAS_Pin|FMC_SDCLK_Pin|FMC_A11_Pin|FMC_A10_Pin
                          |FMC_BA1_Pin|FMC_BA0_Pin;
  GPIO_InitStruct.Mode = GPIO_MODE_AF_PP;
  GPIO_InitStruct.Pull = GPIO_NOPULL;
  GPIO_InitStruct.Speed = GPIO_SPEED_FREQ_VERY_HIGH;
  GPIO_InitStruct.Alternate = GPIO_AF12_FMC;
  HAL_GPIO_Init(GPIOG, &GPIO_InitStruct);

  /*Configure GPIO pins : LCD_B1_Pin LCD_B2_Pin LCD_B3_Pin LCD_G4_Pin
                           LCD_G1_Pin LCD_G3_Pin LCD_G0_Pin LCD_G2_Pin
                           LCD_R7_Pin LCD_R5_Pin LCD_R6_Pin LCD_R4_Pin
                           LCD_R3_Pin LCD_R1_Pin LCD_R2_Pin */
  GPIO_InitStruct.Pin = LCD_B1_Pin|LCD_B2_Pin|LCD_B3_Pin|LCD_G4_Pin
                          |LCD_G1_Pin|LCD_G3_Pin|LCD_G0_Pin|LCD_G2_Pin
                          |LCD_R7_Pin|LCD_R5_Pin|LCD_R6_Pin|LCD_R4_Pin
                          |LCD_R3_Pin|LCD_R1_Pin|LCD_R2_Pin;
  GPIO_InitStruct.Mode = GPIO_MODE_AF_PP;
  GPIO_InitStruct.Pull = GPIO_NOPULL;
  GPIO_InitStruct.Speed = GPIO_SPEED_FREQ_LOW;
  GPIO_InitStruct.Alternate = GPIO_AF14_LTDC;
  HAL_GPIO_Init(GPIOJ, &GPIO_InitStruct);

  /*Configure GPIO pin : OTG_FS_VBUS_Pin */
  GPIO_InitStruct.Pin = OTG_FS_VBUS_Pin;
  GPIO_InitStruct.Mode = GPIO_MODE_INPUT;
  GPIO_InitStruct.Pull = GPIO_NOPULL;
  HAL_GPIO_Init(OTG_FS_VBUS_GPIO_Port, &GPIO_InitStruct);

  /*Configure GPIO pin : Audio_INT_Pin */
  GPIO_InitStruct.Pin = Audio_INT_Pin;
  GPIO_InitStruct.Mode = GPIO_MODE_EVT_RISING;
  GPIO_InitStruct.Pull = GPIO_NOPULL;
  HAL_GPIO_Init(Audio_INT_GPIO_Port, &GPIO_InitStruct);

  /*Configure GPIO pins : FMC_D2_Pin FMC_D3_Pin FMC_D1_Pin FMC_D15_Pin
                           FMC_D0_Pin FMC_D14_Pin FMC_D13_Pin */
  GPIO_InitStruct.Pin = FMC_D2_Pin|FMC_D3_Pin|FMC_D1_Pin|FMC_D15_Pin
                          |FMC_D0_Pin|FMC_D14_Pin|FMC_D13_Pin;
  GPIO_InitStruct.Mode = GPIO_MODE_AF_PP;
  GPIO_InitStruct.Pull = GPIO_NOPULL;
  GPIO_InitStruct.Speed = GPIO_SPEED_FREQ_VERY_HIGH;
  GPIO_InitStruct.Alternate = GPIO_AF12_FMC;
  HAL_GPIO_Init(GPIOD, &GPIO_InitStruct);

  /*Configure GPIO pins : OTG_FS_P_Pin OTG_FS_N_Pin OTG_FS_ID_Pin */
  GPIO_InitStruct.Pin = OTG_FS_P_Pin|OTG_FS_N_Pin|OTG_FS_ID_Pin;
  GPIO_InitStruct.Mode = GPIO_MODE_AF_PP;
  GPIO_InitStruct.Pull = GPIO_NOPULL;
  GPIO_InitStruct.Speed = GPIO_SPEED_FREQ_VERY_HIGH;
  GPIO_InitStruct.Alternate = GPIO_AF10_OTG_FS;
  HAL_GPIO_Init(GPIOA, &GPIO_InitStruct);

  /*Configure GPIO pins : SAI2_MCLKA_Pin SAI2_SCKA_Pin SAI2_FSA_Pin SAI2_SDA_Pin */
  GPIO_InitStruct.Pin = SAI2_MCLKA_Pin|SAI2_SCKA_Pin|SAI2_FSA_Pin|SAI2_SDA_Pin;
  GPIO_InitStruct.Mode = GPIO_MODE_AF_PP;
  GPIO_InitStruct.Pull = GPIO_NOPULL;
  GPIO_InitStruct.Speed = GPIO_SPEED_FREQ_LOW;
  GPIO_InitStruct.Alternate = GPIO_AF10_SAI2;
  HAL_GPIO_Init(GPIOI, &GPIO_InitStruct);

  /*Configure GPIO pins : LCD_DE_Pin LCD_B7_Pin LCD_B6_Pin LCD_B5_Pin
                           LCD_G6_Pin LCD_G7_Pin LCD_G5_Pin */
  GPIO_InitStruct.Pin = LCD_DE_Pin|LCD_B7_Pin|LCD_B6_Pin|LCD_B5_Pin
                          |LCD_G6_Pin|LCD_G7_Pin|LCD_G5_Pin;
  GPIO_InitStruct.Mode = GPIO_MODE_AF_PP;
  GPIO_InitStruct.Pull = GPIO_NOPULL;
  GPIO_InitStruct.Speed = GPIO_SPEED_FREQ_LOW;
  GPIO_InitStruct.Alternate = GPIO_AF14_LTDC;
  HAL_GPIO_Init(GPIOK, &GPIO_InitStruct);

  /*Configure GPIO pin : LCD_B4_Pin */
  GPIO_InitStruct.Pin = LCD_B4_Pin;
  GPIO_InitStruct.Mode = GPIO_MODE_AF_PP;
  GPIO_InitStruct.Pull = GPIO_NOPULL;
  GPIO_InitStruct.Speed = GPIO_SPEED_FREQ_LOW;
  GPIO_InitStruct.Alternate = GPIO_AF9_LTDC;
  HAL_GPIO_Init(LCD_B4_GPIO_Port, &GPIO_InitStruct);

  /*Configure GPIO pin : SAI2_SDB_Pin */
  GPIO_InitStruct.Pin = SAI2_SDB_Pin;
  GPIO_InitStruct.Mode = GPIO_MODE_AF_PP;
  GPIO_InitStruct.Pull = GPIO_NOPULL;
  GPIO_InitStruct.Speed = GPIO_SPEED_FREQ_LOW;
  GPIO_InitStruct.Alternate = GPIO_AF10_SAI2;
  HAL_GPIO_Init(SAI2_SDB_GPIO_Port, &GPIO_InitStruct);

  /*Configure GPIO pin : OTG_FS_PowerSwitchOn_Pin */
  GPIO_InitStruct.Pin = OTG_FS_PowerSwitchOn_Pin;
  GPIO_InitStruct.Mode = GPIO_MODE_OUTPUT_PP;
  GPIO_InitStruct.Pull = GPIO_NOPULL;
  GPIO_InitStruct.Speed = GPIO_SPEED_FREQ_LOW;
  HAL_GPIO_Init(OTG_FS_PowerSwitchOn_GPIO_Port, &GPIO_InitStruct);

  /*Configure GPIO pin : DCMI_D5_Pin */
  GPIO_InitStruct.Pin = DCMI_D5_Pin;
  GPIO_InitStruct.Mode = GPIO_MODE_AF_PP;
  GPIO_InitStruct.Pull = GPIO_NOPULL;
  GPIO_InitStruct.Speed = GPIO_SPEED_FREQ_LOW;
  GPIO_InitStruct.Alternate = GPIO_AF13_DCMI;
  HAL_GPIO_Init(DCMI_D5_GPIO_Port, &GPIO_InitStruct);

  /*Configure GPIO pins : ARDUINO_D7_Pin ARDUINO_D8_Pin LCD_DISP_Pin */
  GPIO_InitStruct.Pin = ARDUINO_D7_Pin|ARDUINO_D8_Pin|LCD_DISP_Pin;
  GPIO_InitStruct.Mode = GPIO_MODE_OUTPUT_PP;
  GPIO_InitStruct.Pull = GPIO_NOPULL;
  GPIO_InitStruct.Speed = GPIO_SPEED_FREQ_LOW;
  HAL_GPIO_Init(GPIOI, &GPIO_InitStruct);

  /*Configure GPIO pin : uSD_Detect_Pin */
  GPIO_InitStruct.Pin = uSD_Detect_Pin;
  GPIO_InitStruct.Mode = GPIO_MODE_INPUT;
  GPIO_InitStruct.Pull = GPIO_NOPULL;
  HAL_GPIO_Init(uSD_Detect_GPIO_Port, &GPIO_InitStruct);

  /*Configure GPIO pins : FMC_A0_Pin FMC_A1_Pin FMC_A2_Pin FMC_A3_Pin
                           FMC_A4_Pin FMC_A5_Pin FMC_A6_Pin FMC_A9_Pin
                           FMC_A7_Pin FMC_A8_Pin FMC_SDNRAS_Pin */
  GPIO_InitStruct.Pin = FMC_A0_Pin|FMC_A1_Pin|FMC_A2_Pin|FMC_A3_Pin
                          |FMC_A4_Pin|FMC_A5_Pin|FMC_A6_Pin|FMC_A9_Pin
                          |FMC_A7_Pin|FMC_A8_Pin|FMC_SDNRAS_Pin;
  GPIO_InitStruct.Mode = GPIO_MODE_AF_PP;
  GPIO_InitStruct.Pull = GPIO_NOPULL;
  GPIO_InitStruct.Speed = GPIO_SPEED_FREQ_VERY_HIGH;
  GPIO_InitStruct.Alternate = GPIO_AF12_FMC;
  HAL_GPIO_Init(GPIOF, &GPIO_InitStruct);

  /*Configure GPIO pins : LCD_HSYNC_Pin LCD_VSYNC_Pin LCD_R0_Pin LCD_CLK_Pin */
  GPIO_InitStruct.Pin = LCD_HSYNC_Pin|LCD_VSYNC_Pin|LCD_R0_Pin|LCD_CLK_Pin;
  GPIO_InitStruct.Mode = GPIO_MODE_AF_PP;
  GPIO_InitStruct.Pull = GPIO_NOPULL;
  GPIO_InitStruct.Speed = GPIO_SPEED_FREQ_LOW;
  GPIO_InitStruct.Alternate = GPIO_AF14_LTDC;
  HAL_GPIO_Init(GPIOI, &GPIO_InitStruct);

  /*Configure GPIO pin : LCD_BL_CTRL_Pin */
  GPIO_InitStruct.Pin = LCD_BL_CTRL_Pin;
  GPIO_InitStruct.Mode = GPIO_MODE_OUTPUT_PP;
  GPIO_InitStruct.Pull = GPIO_NOPULL;
  GPIO_InitStruct.Speed = GPIO_SPEED_FREQ_LOW;
  HAL_GPIO_Init(LCD_BL_CTRL_GPIO_Port, &GPIO_InitStruct);

  /*Configure GPIO pin : DCMI_VSYNC_Pin */
  GPIO_InitStruct.Pin = DCMI_VSYNC_Pin;
  GPIO_InitStruct.Mode = GPIO_MODE_AF_PP;
  GPIO_InitStruct.Pull = GPIO_NOPULL;
  GPIO_InitStruct.Speed = GPIO_SPEED_FREQ_LOW;
  GPIO_InitStruct.Alternate = GPIO_AF13_DCMI;
  HAL_GPIO_Init(DCMI_VSYNC_GPIO_Port, &GPIO_InitStruct);

  /*Configure GPIO pin : OTG_FS_OverCurrent_Pin */
  GPIO_InitStruct.Pin = OTG_FS_OverCurrent_Pin;
  GPIO_InitStruct.Mode = GPIO_MODE_INPUT;
  GPIO_InitStruct.Pull = GPIO_NOPULL;
  HAL_GPIO_Init(OTG_FS_OverCurrent_GPIO_Port, &GPIO_InitStruct);

  /*Configure GPIO pins : TP3_Pin NC2_Pin */
  GPIO_InitStruct.Pin = TP3_Pin|NC2_Pin;
  GPIO_InitStruct.Mode = GPIO_MODE_INPUT;
  GPIO_InitStruct.Pull = GPIO_NOPULL;
  HAL_GPIO_Init(GPIOH, &GPIO_InitStruct);

  /*Configure GPIO pin : ARDUINO_SCK_D13_Pin */
  GPIO_InitStruct.Pin = ARDUINO_SCK_D13_Pin;
  GPIO_InitStruct.Mode = GPIO_MODE_AF_PP;
  GPIO_InitStruct.Pull = GPIO_NOPULL;
  GPIO_InitStruct.Speed = GPIO_SPEED_FREQ_LOW;
  GPIO_InitStruct.Alternate = GPIO_AF5_SPI2;
  HAL_GPIO_Init(ARDUINO_SCK_D13_GPIO_Port, &GPIO_InitStruct);

  /*Configure GPIO pin : DCMI_PWR_EN_Pin */
  GPIO_InitStruct.Pin = DCMI_PWR_EN_Pin;
  GPIO_InitStruct.Mode = GPIO_MODE_OUTPUT_PP;
  GPIO_InitStruct.Pull = GPIO_NOPULL;
  GPIO_InitStruct.Speed = GPIO_SPEED_FREQ_LOW;
  HAL_GPIO_Init(DCMI_PWR_EN_GPIO_Port, &GPIO_InitStruct);

  /*Configure GPIO pins : DCMI_D4_Pin DCMI_D3_Pin DCMI_D0_Pin DCMI_D2_Pin
                           DCMI_D1_Pin */
  GPIO_InitStruct.Pin = DCMI_D4_Pin|DCMI_D3_Pin|DCMI_D0_Pin|DCMI_D2_Pin
                          |DCMI_D1_Pin;
  GPIO_InitStruct.Mode = GPIO_MODE_AF_PP;
  GPIO_InitStruct.Pull = GPIO_NOPULL;
  GPIO_InitStruct.Speed = GPIO_SPEED_FREQ_LOW;
  GPIO_InitStruct.Alternate = GPIO_AF13_DCMI;
  HAL_GPIO_Init(GPIOH, &GPIO_InitStruct);

  /*Configure GPIO pin : ARDUINO_PWM_CS_D5_Pin */
  GPIO_InitStruct.Pin = ARDUINO_PWM_CS_D5_Pin;
  GPIO_InitStruct.Mode = GPIO_MODE_AF_PP;
  GPIO_InitStruct.Pull = GPIO_NOPULL;
  GPIO_InitStruct.Speed = GPIO_SPEED_FREQ_LOW;
  GPIO_InitStruct.Alternate = GPIO_AF2_TIM5;
  HAL_GPIO_Init(ARDUINO_PWM_CS_D5_GPIO_Port, &GPIO_InitStruct);

  /*Configure GPIO pin : ARDUINO_PWM_D10_Pin */
  GPIO_InitStruct.Pin = ARDUINO_PWM_D10_Pin;
  GPIO_InitStruct.Mode = GPIO_MODE_AF_PP;
  GPIO_InitStruct.Pull = GPIO_NOPULL;
  GPIO_InitStruct.Speed = GPIO_SPEED_FREQ_LOW;
  GPIO_InitStruct.Alternate = GPIO_AF1_TIM1;
  HAL_GPIO_Init(ARDUINO_PWM_D10_GPIO_Port, &GPIO_InitStruct);

  /*Configure GPIO pin : LCD_INT_Pin */
  GPIO_InitStruct.Pin = LCD_INT_Pin;
  GPIO_InitStruct.Mode = GPIO_MODE_EVT_RISING;
  GPIO_InitStruct.Pull = GPIO_NOPULL;
  HAL_GPIO_Init(LCD_INT_GPIO_Port, &GPIO_InitStruct);

  /*Configure GPIO pins : ARDUINO_RX_D0_Pin ARDUINO_TX_D1_Pin */
  GPIO_InitStruct.Pin = ARDUINO_RX_D0_Pin|ARDUINO_TX_D1_Pin;
  GPIO_InitStruct.Mode = GPIO_MODE_AF_PP;
  GPIO_InitStruct.Pull = GPIO_NOPULL;
  GPIO_InitStruct.Speed = GPIO_SPEED_FREQ_VERY_HIGH;
  GPIO_InitStruct.Alternate = GPIO_AF8_USART6;
  HAL_GPIO_Init(GPIOC, &GPIO_InitStruct);

  /*Configure GPIO pin : ULPI_NXT_Pin */
  GPIO_InitStruct.Pin = ULPI_NXT_Pin;
  GPIO_InitStruct.Mode = GPIO_MODE_AF_PP;
  GPIO_InitStruct.Pull = GPIO_NOPULL;
  GPIO_InitStruct.Speed = GPIO_SPEED_FREQ_VERY_HIGH;
  GPIO_InitStruct.Alternate = GPIO_AF10_OTG_HS;
  HAL_GPIO_Init(ULPI_NXT_GPIO_Port, &GPIO_InitStruct);

  /*Configure GPIO pins : FMC_SDNME_Pin FMC_SDNE0_Pin */
  GPIO_InitStruct.Pin = FMC_SDNME_Pin|FMC_SDNE0_Pin;
  GPIO_InitStruct.Mode = GPIO_MODE_AF_PP;
  GPIO_InitStruct.Pull = GPIO_NOPULL;
  GPIO_InitStruct.Speed = GPIO_SPEED_FREQ_VERY_HIGH;
  GPIO_InitStruct.Alternate = GPIO_AF12_FMC;
  HAL_GPIO_Init(GPIOH, &GPIO_InitStruct);

  /*Configure GPIO pins : ARDUINO_D4_Pin ARDUINO_D2_Pin EXT_RST_Pin */
  GPIO_InitStruct.Pin = ARDUINO_D4_Pin|ARDUINO_D2_Pin|EXT_RST_Pin;
  GPIO_InitStruct.Mode = GPIO_MODE_OUTPUT_PP;
  GPIO_InitStruct.Pull = GPIO_NOPULL;
  GPIO_InitStruct.Speed = GPIO_SPEED_FREQ_LOW;
  HAL_GPIO_Init(GPIOG, &GPIO_InitStruct);

  /*Configure GPIO pins : ARDUINO_A4_Pin ARDUINO_A5_Pin ARDUINO_A1_Pin ARDUINO_A2_Pin
                           ARDUINO_A3_Pin */
  GPIO_InitStruct.Pin = ARDUINO_A4_Pin|ARDUINO_A5_Pin|ARDUINO_A1_Pin|ARDUINO_A2_Pin
                          |ARDUINO_A3_Pin;
  GPIO_InitStruct.Mode = GPIO_MODE_ANALOG;
  GPIO_InitStruct.Pull = GPIO_NOPULL;
  HAL_GPIO_Init(GPIOF, &GPIO_InitStruct);

  /*Configure GPIO pin : FMC_SDCKE0_Pin */
  GPIO_InitStruct.Pin = FMC_SDCKE0_Pin;
  GPIO_InitStruct.Mode = GPIO_MODE_AF_PP;
  GPIO_InitStruct.Pull = GPIO_NOPULL;
  GPIO_InitStruct.Speed = GPIO_SPEED_FREQ_VERY_HIGH;
  GPIO_InitStruct.Alternate = GPIO_AF12_FMC;
  HAL_GPIO_Init(FMC_SDCKE0_GPIO_Port, &GPIO_InitStruct);

  /*Configure GPIO pins : ULPI_STP_Pin ULPI_DIR_Pin */
  GPIO_InitStruct.Pin = ULPI_STP_Pin|ULPI_DIR_Pin;
  GPIO_InitStruct.Mode = GPIO_MODE_AF_PP;
  GPIO_InitStruct.Pull = GPIO_NOPULL;
  GPIO_InitStruct.Speed = GPIO_SPEED_FREQ_VERY_HIGH;
  GPIO_InitStruct.Alternate = GPIO_AF10_OTG_HS;
  HAL_GPIO_Init(GPIOC, &GPIO_InitStruct);

  /*Configure GPIO pins : RMII_MDC_Pin RMII_RXD0_Pin RMII_RXD1_Pin */
  GPIO_InitStruct.Pin = RMII_MDC_Pin|RMII_RXD0_Pin|RMII_RXD1_Pin;
  GPIO_InitStruct.Mode = GPIO_MODE_AF_PP;
  GPIO_InitStruct.Pull = GPIO_NOPULL;
  GPIO_InitStruct.Speed = GPIO_SPEED_FREQ_VERY_HIGH;
  GPIO_InitStruct.Alternate = GPIO_AF11_ETH;
  HAL_GPIO_Init(GPIOC, &GPIO_InitStruct);

  /*Configure GPIO pin : PB2 */
  GPIO_InitStruct.Pin = GPIO_PIN_2;
  GPIO_InitStruct.Mode = GPIO_MODE_AF_PP;
  GPIO_InitStruct.Pull = GPIO_NOPULL;
  GPIO_InitStruct.Speed = GPIO_SPEED_FREQ_VERY_HIGH;
  GPIO_InitStruct.Alternate = GPIO_AF9_QUADSPI;
  HAL_GPIO_Init(GPIOB, &GPIO_InitStruct);

  /*Configure GPIO pins : QSPI_D1_Pin QSPI_D3_Pin QSPI_D0_Pin */
  GPIO_InitStruct.Pin = QSPI_D1_Pin|QSPI_D3_Pin|QSPI_D0_Pin;
  GPIO_InitStruct.Mode = GPIO_MODE_AF_PP;
  GPIO_InitStruct.Pull = GPIO_NOPULL;
  GPIO_InitStruct.Speed = GPIO_SPEED_FREQ_VERY_HIGH;
  GPIO_InitStruct.Alternate = GPIO_AF9_QUADSPI;
  HAL_GPIO_Init(GPIOD, &GPIO_InitStruct);

  /*Configure GPIO pin : RMII_RXER_Pin */
  GPIO_InitStruct.Pin = RMII_RXER_Pin;
  GPIO_InitStruct.Mode = GPIO_MODE_INPUT;
  GPIO_InitStruct.Pull = GPIO_NOPULL;
  HAL_GPIO_Init(RMII_RXER_GPIO_Port, &GPIO_InitStruct);

  /*Configure GPIO pins : RMII_REF_CLK_Pin RMII_MDIO_Pin RMII_CRS_DV_Pin */
  GPIO_InitStruct.Pin = RMII_REF_CLK_Pin|RMII_MDIO_Pin|RMII_CRS_DV_Pin;
  GPIO_InitStruct.Mode = GPIO_MODE_AF_PP;
  GPIO_InitStruct.Pull = GPIO_NOPULL;
  GPIO_InitStruct.Speed = GPIO_SPEED_FREQ_VERY_HIGH;
  GPIO_InitStruct.Alternate = GPIO_AF11_ETH;
  HAL_GPIO_Init(GPIOA, &GPIO_InitStruct);

  /*Configure GPIO pin : ARDUINO_A0_Pin */
  GPIO_InitStruct.Pin = ARDUINO_A0_Pin;
  GPIO_InitStruct.Mode = GPIO_MODE_ANALOG;
  GPIO_InitStruct.Pull = GPIO_NOPULL;
  HAL_GPIO_Init(ARDUINO_A0_GPIO_Port, &GPIO_InitStruct);

  /*Configure GPIO pins : DCMI_HSYNC_Pin PA6 */
  GPIO_InitStruct.Pin = DCMI_HSYNC_Pin|GPIO_PIN_6;
  GPIO_InitStruct.Mode = GPIO_MODE_AF_PP;
  GPIO_InitStruct.Pull = GPIO_NOPULL;
  GPIO_InitStruct.Speed = GPIO_SPEED_FREQ_LOW;
  GPIO_InitStruct.Alternate = GPIO_AF13_DCMI;
  HAL_GPIO_Init(GPIOA, &GPIO_InitStruct);

  /*Configure GPIO pins : LCD_SCL_Pin LCD_SDA_Pin */
  GPIO_InitStruct.Pin = LCD_SCL_Pin|LCD_SDA_Pin;
  GPIO_InitStruct.Mode = GPIO_MODE_AF_OD;
  GPIO_InitStruct.Pull = GPIO_PULLUP;
  GPIO_InitStruct.Speed = GPIO_SPEED_FREQ_VERY_HIGH;
  GPIO_InitStruct.Alternate = GPIO_AF4_I2C3;
  HAL_GPIO_Init(GPIOH, &GPIO_InitStruct);

  /*Configure GPIO pins : ULPI_CLK_Pin ULPI_D0_Pin */
  GPIO_InitStruct.Pin = ULPI_CLK_Pin|ULPI_D0_Pin;
  GPIO_InitStruct.Mode = GPIO_MODE_AF_PP;
  GPIO_InitStruct.Pull = GPIO_NOPULL;
  GPIO_InitStruct.Speed = GPIO_SPEED_FREQ_VERY_HIGH;
  GPIO_InitStruct.Alternate = GPIO_AF10_OTG_HS;
  HAL_GPIO_Init(GPIOA, &GPIO_InitStruct);

  /*Configure GPIO pin : ARDUINO_PWM_D6_Pin */
  GPIO_InitStruct.Pin = ARDUINO_PWM_D6_Pin;
  GPIO_InitStruct.Mode = GPIO_MODE_AF_PP;
  GPIO_InitStruct.Pull = GPIO_NOPULL;
  GPIO_InitStruct.Speed = GPIO_SPEED_FREQ_LOW;
  GPIO_InitStruct.Alternate = GPIO_AF9_TIM12;
  HAL_GPIO_Init(ARDUINO_PWM_D6_GPIO_Port, &GPIO_InitStruct);

  /*Configure GPIO pins : ARDUINO_MISO_D12_Pin ARDUINO_MOSI_PWM_D11_Pin */
  GPIO_InitStruct.Pin = ARDUINO_MISO_D12_Pin|ARDUINO_MOSI_PWM_D11_Pin;
  GPIO_InitStruct.Mode = GPIO_MODE_AF_PP;
  GPIO_InitStruct.Pull = GPIO_NOPULL;
  GPIO_InitStruct.Speed = GPIO_SPEED_FREQ_LOW;
  GPIO_InitStruct.Alternate = GPIO_AF5_SPI2;
  HAL_GPIO_Init(GPIOB, &GPIO_InitStruct);

}

void Error_Handler(void)
{
  /* USER CODE BEGIN Error_Handler_Debug */
  /* User can add his own implementation to report the HAL error return state */
	while(1);
  /* USER CODE END Error_Handler_Debug */
}

/************************ (C) COPYRIGHT STMicroelectronics *****END OF FILE****/
